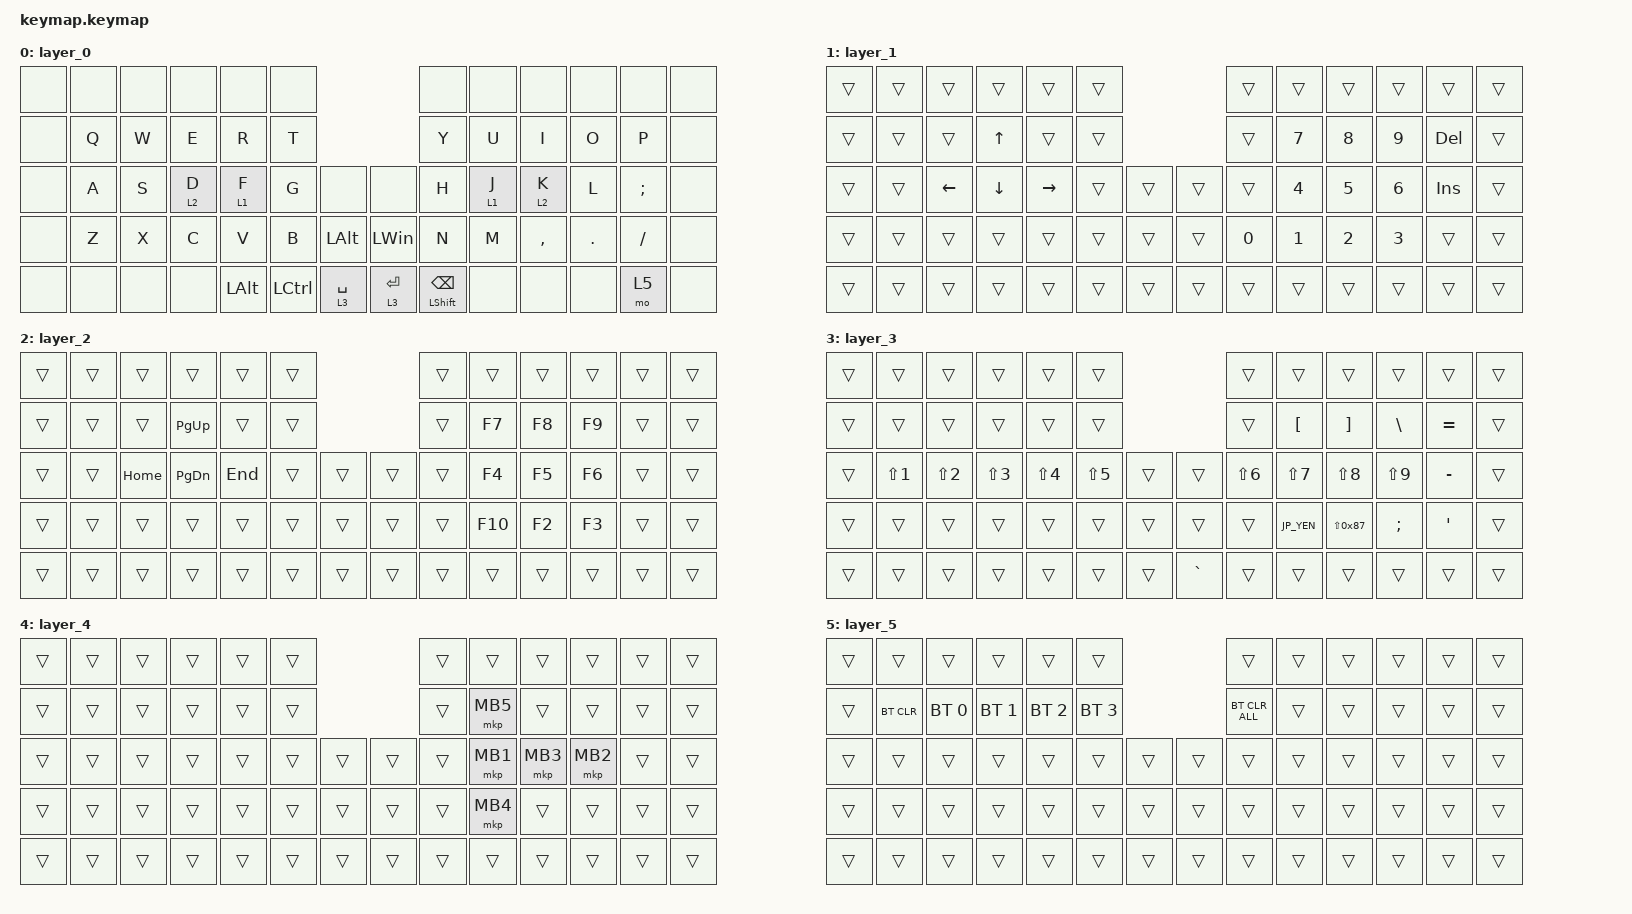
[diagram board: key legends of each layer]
#include <behaviors.dtsi>
#include <dt-bindings/zmk/bt.h>
#include <dt-bindings/zmk/keys.h>
#include <dt-bindings/zmk/pointing.h>

#define JP_YEN          0x89              // ¥
#define JP_PIPE         LS(0x89)          // |
#define JP_UNDERSCORE   LS(0x87)          // _

/ {
    combos {
        compatible = "zmk,combos";

        combo_esc {
            bindings = <&kp ESC>;
            key-positions = <13 14>;
        };

        combo_tab {
            bindings = <&kp TAB>;
            key-positions = <25 26>;
        };

        combo_shift {
            bindings = <&kp LEFT_SHIFT>;
            key-positions = <39 40>;
        };

        combo_control {
            bindings = <&kp LCTRL>;
            key-positions = <49 50>;
        };
    };

    keymap {
        compatible = "zmk,keymap";

        layer_0 {
            bindings = <
&none  &none  &none  &none    &none         &none                                  &none                     &none    &none      &none    &none      &none
&none  &kp Q  &kp W  &kp E    &kp R         &kp T                                  &kp Y                     &kp U    &kp I      &kp O    &kp P      &none
&none  &kp A  &kp S  &lt 2 D  &lt 1 F       &kp G      &none         &none         &kp H                     &lt 1 J  &lt 2 K    &kp L    &kp SEMI   &none
&none  &kp Z  &kp X  &kp C    &kp V         &kp B      &kp LEFT_ALT  &kp LEFT_WIN  &kp N                     &kp M    &kp COMMA  &kp DOT  &kp SLASH  &none
&none  &none  &none  &none    &kp LEFT_ALT  &kp LCTRL  &lt 3 SPACE   &lt 3 ENTER   &mt LEFT_SHIFT BACKSPACE  &none    &none      &none    &mo 5      &none
            >;
        };

        layer_1 {
            bindings = <
&trans  &trans  &trans    &trans        &trans     &trans                  &trans  &trans  &trans  &trans  &trans      &trans
&trans  &trans  &trans    &kp UP_ARROW  &trans     &trans                  &trans  &kp N7  &kp N8  &kp N9  &kp DELETE  &trans
&trans  &trans  &kp LEFT  &kp DOWN      &kp RIGHT  &trans  &trans  &trans  &trans  &kp N4  &kp N5  &kp N6  &kp INS     &trans
&trans  &trans  &trans    &trans        &trans     &trans  &trans  &trans  &kp N0  &kp N1  &kp N2  &kp N3  &trans      &trans
&trans  &trans  &trans    &trans        &trans     &trans  &trans  &trans  &trans  &trans  &trans  &trans  &trans      &trans
            >;
        };

        layer_2 {
            bindings = <
&trans  &trans  &trans    &trans         &trans   &trans                  &trans  &trans   &trans  &trans  &trans  &trans
&trans  &trans  &trans    &kp PG_UP      &trans   &trans                  &trans  &kp F7   &kp F8  &kp F9  &trans  &trans
&trans  &trans  &kp HOME  &kp PAGE_DOWN  &kp END  &trans  &trans  &trans  &trans  &kp F4   &kp F5  &kp F6  &trans  &trans
&trans  &trans  &trans    &trans         &trans   &trans  &trans  &trans  &trans  &kp F10  &kp F2  &kp F3  &trans  &trans
&trans  &trans  &trans    &trans         &trans   &trans  &trans  &trans  &trans  &trans   &trans  &trans  &trans  &trans
            >;
        };

        layer_3 {
            bindings = <
&trans  &trans            &trans            &trans            &trans            &trans                               &trans            &trans            &trans             &trans            &trans     &trans
&trans  &trans            &trans            &trans            &trans            &trans                               &trans            &kp LEFT_BRACKET  &kp RIGHT_BRACKET  &kp BACKSLASH     &kp EQUAL  &trans
&trans  &kp LS(NUMBER_1)  &kp LS(NUMBER_2)  &kp LS(NUMBER_3)  &kp LS(NUMBER_4)  &kp LS(NUMBER_5)  &trans  &trans     &kp LS(NUMBER_6)  &kp LS(NUMBER_7)  &kp LS(NUMBER_8)   &kp LS(NUMBER_9)  &kp MINUS  &trans
&trans  &trans            &trans            &trans            &trans            &trans            &trans  &trans     &trans            &kp JP_YEN        &kp JP_UNDERSCORE  &kp SEMICOLON     &kp APOS   &trans
&trans  &trans            &trans            &trans            &trans            &trans            &trans  &kp GRAVE  &trans            &trans            &trans             &trans            &trans     &trans
            >;
        };

        layer_4 {
            bindings = <
&trans  &trans  &trans  &trans  &trans  &trans                  &trans  &trans    &trans    &trans    &trans  &trans
&trans  &trans  &trans  &trans  &trans  &trans                  &trans  &mkp MB5  &trans    &trans    &trans  &trans
&trans  &trans  &trans  &trans  &trans  &trans  &trans  &trans  &trans  &mkp MB1  &mkp MB3  &mkp MB2  &trans  &trans
&trans  &trans  &trans  &trans  &trans  &trans  &trans  &trans  &trans  &mkp MB4  &trans    &trans    &trans  &trans
&trans  &trans  &trans  &trans  &trans  &trans  &trans  &trans  &trans  &trans    &trans    &trans    &trans  &trans
            >;
        };

        layer_5 {
            bindings = <
&trans  &trans      &trans        &trans        &trans        &trans                        &trans          &trans  &trans  &trans  &trans  &trans
&trans  &bt BT_CLR  &bt BT_SEL 0  &bt BT_SEL 1  &bt BT_SEL 2  &bt BT_SEL 3                  &bt BT_CLR_ALL  &trans  &trans  &trans  &trans  &trans
&trans  &trans      &trans        &trans        &trans        &trans        &trans  &trans  &trans          &trans  &trans  &trans  &trans  &trans
&trans  &trans      &trans        &trans        &trans        &trans        &trans  &trans  &trans          &trans  &trans  &trans  &trans  &trans
&trans  &trans      &trans        &trans        &trans        &trans        &trans  &trans  &trans          &trans  &trans  &trans  &trans  &trans
            >;
        };
    };
};
